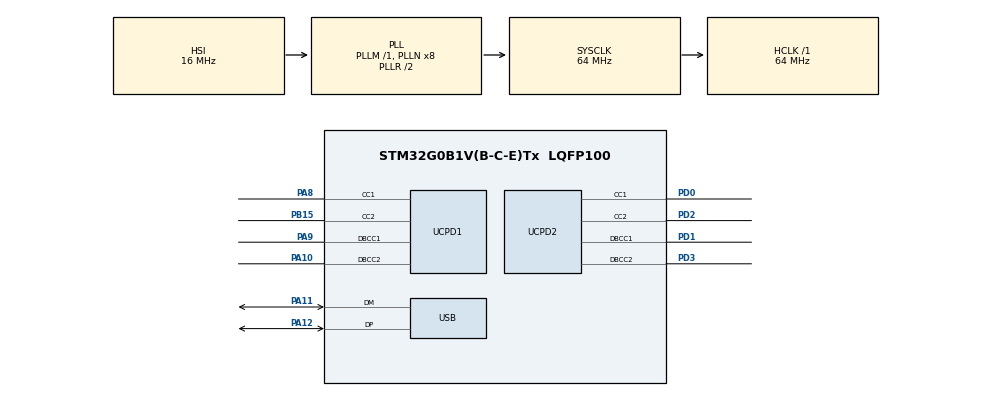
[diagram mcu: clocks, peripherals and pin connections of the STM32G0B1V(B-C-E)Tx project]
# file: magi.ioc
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Dma.Request0=UCPD1_RX
Dma.Request1=UCPD1_TX
Dma.Request2=UCPD2_RX
Dma.Request3=UCPD2_TX
Dma.UCPD1_RX.0.Direction=DMA_PERIPH_TO_MEMORY
Dma.UCPD1_RX.0.EventEnable=DISABLE
Dma.UCPD1_RX.0.Instance=DMA1_Channel1
Dma.UCPD1_RX.0.MemDataAlignment=DMA_MDATAALIGN_BYTE
Dma.UCPD1_RX.0.MemInc=DMA_MINC_ENABLE
Dma.UCPD1_RX.0.Mode=DMA_NORMAL
Dma.UCPD1_RX.0.PeriphDataAlignment=DMA_PDATAALIGN_BYTE
Dma.UCPD1_RX.0.PeriphInc=DMA_PINC_DISABLE
Dma.UCPD1_RX.0.Polarity=HAL_DMAMUX_REQ_GEN_RISING
Dma.UCPD1_RX.0.Priority=DMA_PRIORITY_LOW
Dma.UCPD1_RX.0.RequestNumber=1
Dma.UCPD1_RX.0.SignalID=NONE
Dma.UCPD1_RX.0.SyncEnable=DISABLE
Dma.UCPD1_RX.0.SyncPolarity=HAL_DMAMUX_SYNC_NO_EVENT
Dma.UCPD1_RX.0.SyncRequestNumber=1
Dma.UCPD1_RX.0.SyncSignalID=NONE
Dma.UCPD1_TX.1.Direction=DMA_MEMORY_TO_PERIPH
Dma.UCPD1_TX.1.EventEnable=DISABLE
Dma.UCPD1_TX.1.Instance=DMA1_Channel2
Dma.UCPD1_TX.1.MemDataAlignment=DMA_MDATAALIGN_BYTE
Dma.UCPD1_TX.1.MemInc=DMA_MINC_ENABLE
Dma.UCPD1_TX.1.Mode=DMA_NORMAL
Dma.UCPD1_TX.1.PeriphDataAlignment=DMA_PDATAALIGN_BYTE
Dma.UCPD1_TX.1.PeriphInc=DMA_PINC_DISABLE
Dma.UCPD1_TX.1.Polarity=HAL_DMAMUX_REQ_GEN_RISING
Dma.UCPD1_TX.1.Priority=DMA_PRIORITY_LOW
Dma.UCPD1_TX.1.RequestNumber=1
Dma.UCPD1_TX.1.SignalID=NONE
Dma.UCPD1_TX.1.SyncEnable=DISABLE
Dma.UCPD1_TX.1.SyncPolarity=HAL_DMAMUX_SYNC_NO_EVENT
Dma.UCPD1_TX.1.SyncRequestNumber=1
Dma.UCPD1_TX.1.SyncSignalID=NONE
Dma.UCPD2_RX.2.Direction=DMA_PERIPH_TO_MEMORY
Dma.UCPD2_RX.2.EventEnable=DISABLE
Dma.UCPD2_RX.2.Instance=DMA1_Channel3
Dma.UCPD2_RX.2.MemDataAlignment=DMA_MDATAALIGN_BYTE
Dma.UCPD2_RX.2.MemInc=DMA_MINC_ENABLE
Dma.UCPD2_RX.2.Mode=DMA_NORMAL
Dma.UCPD2_RX.2.PeriphDataAlignment=DMA_PDATAALIGN_BYTE
Dma.UCPD2_RX.2.PeriphInc=DMA_PINC_DISABLE
Dma.UCPD2_RX.2.Polarity=HAL_DMAMUX_REQ_GEN_RISING
Dma.UCPD2_RX.2.Priority=DMA_PRIORITY_LOW
Dma.UCPD2_RX.2.RequestNumber=1
Dma.UCPD2_RX.2.SignalID=NONE
Dma.UCPD2_RX.2.SyncEnable=DISABLE
Dma.UCPD2_RX.2.SyncPolarity=HAL_DMAMUX_SYNC_NO_EVENT
Dma.UCPD2_RX.2.SyncRequestNumber=1
Dma.UCPD2_RX.2.SyncSignalID=NONE
Dma.UCPD2_TX.3.Direction=DMA_MEMORY_TO_PERIPH
Dma.UCPD2_TX.3.EventEnable=DISABLE
Dma.UCPD2_TX.3.Instance=DMA1_Channel4
Dma.UCPD2_TX.3.MemDataAlignment=DMA_MDATAALIGN_BYTE
Dma.UCPD2_TX.3.MemInc=DMA_MINC_ENABLE
Dma.UCPD2_TX.3.Mode=DMA_NORMAL
Dma.UCPD2_TX.3.PeriphDataAlignment=DMA_PDATAALIGN_BYTE
Dma.UCPD2_TX.3.PeriphInc=DMA_PINC_DISABLE
Dma.UCPD2_TX.3.Polarity=HAL_DMAMUX_REQ_GEN_RISING
Dma.UCPD2_TX.3.Priority=DMA_PRIORITY_LOW
Dma.UCPD2_TX.3.RequestNumber=1
Dma.UCPD2_TX.3.SignalID=NONE
Dma.UCPD2_TX.3.SyncEnable=DISABLE
Dma.UCPD2_TX.3.SyncPolarity=HAL_DMAMUX_SYNC_NO_EVENT
Dma.UCPD2_TX.3.SyncRequestNumber=1
Dma.UCPD2_TX.3.SyncSignalID=NONE
FREERTOS.Tasks01=defaultTask,24,128,StartDefaultTask,Default,NULL,Dynamic,NULL,NULL
FREERTOS.configTOTAL_HEAP_SIZE=8192
Mcu.Family=STM32G0
Mcu.Name=STM32G0B1V(B-C-E)Tx
Mcu.Package=LQFP100
NVIC.DMA1_Ch4_7_DMA2_Ch1_5_DMAMUX1_OVR_IRQn=true\:3\:0\:false\:false\:true\:true\:false\:true\:true
NVIC.DMA1_Channel1_IRQn=true\:3\:0\:false\:false\:true\:true\:false\:true\:true
NVIC.DMA1_Channel2_3_IRQn=true\:3\:0\:false\:false\:true\:true\:false\:true\:true
NVIC.TIM17_FDCAN_IT1_IRQn=true\:3\:0\:false\:false\:true\:false\:false\:true\:true
NVIC.TimeBase=TIM17_FDCAN_IT1_IRQn
NVIC.TimeBaseIP=TIM17
NVIC.USB_UCPD1_2_IRQn=true\:3\:0\:false\:false\:true\:true\:true\:true\:true
PA10.Mode=EnableDeadBattery
PA10.Signal=UCPD1_DBCC2
PA11\ [PA9].Mode=Device
PA11\ [PA9].Signal=USB_DM
PA12\ [PA10].Mode=Device
PA12\ [PA10].Signal=USB_DP
PA2.Mode=Clock-out-LSCO
PA2.Signal=RCC_LSCO
PA8.Mode=Dual_Role_AllSignals
PA8.Signal=UCPD1_CC1
PA9.Mode=EnableDeadBattery
PA9.Signal=UCPD1_DBCC1
PB15.Mode=Dual_Role_AllSignals
PB15.Signal=UCPD1_CC2
PC14-OSC32_IN\ (PC14).Mode=LSE-External-Oscillator
PC14-OSC32_IN\ (PC14).Signal=RCC_OSC32_IN
PC15-OSC32_OUT\ (PC15).Mode=LSE-External-Oscillator
PC15-OSC32_OUT\ (PC15).Signal=RCC_OSC32_OUT
PD0.Mode=Dual_Role_AllSignals
PD0.Signal=UCPD2_CC1
PD1.Mode=EnableDeadBattery
PD1.Signal=UCPD2_DBCC1
PD2.Mode=Dual_Role_AllSignals
PD2.Signal=UCPD2_CC2
PD3.Mode=EnableDeadBattery
PD3.Signal=UCPD2_DBCC2
ProjectManager.HeapSize=0x200
ProjectManager.StackSize=0x400
ProjectManager.TargetToolchain=CMake
RCC.ADCFreq_Value=64000000
RCC.AHBFreq_Value=64000000
RCC.CortexFreq_Value=64000000
RCC.EXTERNAL_CLOCK_VALUE=48000
RCC.HCLKFreq_Value=64000000
RCC.HSE_VALUE=8000000
RCC.HSI48_VALUE=48000000
RCC.HSI_VALUE=16000000
RCC.LSCOSource1=RCC_LSCOSOURCE_LSE
RCC.PREFETCH_ENABLE=0
RCC.SYSCLKFreq_VALUE=64000000
RCC.SYSCLKSource=RCC_SYSCLKSOURCE_PLLCLK
RCC.USBFreq_Value=48000000
RCC.VCOOutputFreq_Value=128000000
USBPD.PE_DataSwap_P0=USBPD_TRUE
USBPD.PE_DataSwap_P1=USBPD_TRUE
USBPD.USBPD_PORT0_PDO_SNK_FIXED_SET_OP_CURRENT_0=3000
USBPD.USBPD_PORT0_PDO_SNK_FIXED_SET_OP_CURRENT_1=5000
USBPD.USBPD_PORT0_PDO_SNK_FIXED_SET_VOLTAGE_1=20000
USBPD.USBPD_PORT0_PDO_SNK_NB=2
USBPD.USBPD_PORT0_PDO_SRC_FIXED_SET_MAX_CURRENT_0=3000
USBPD.USBPD_PORT0_PDO_SRC_NB=1
USBPD.USBPD_PORT1_PDO_SNK_FIXED_SET_OP_CURRENT_0=3000
USBPD.USBPD_PORT1_PDO_SNK_FIXED_SET_OP_CURRENT_1=5000
USBPD.USBPD_PORT1_PDO_SNK_FIXED_SET_VOLTAGE_1=20000
USBPD.USBPD_PORT1_PDO_SNK_NB=2
USBPD.USBPD_PORT1_PDO_SRC_FIXED_SET_MAX_CURRENT_0=3000
USBPD.USBPD_PORT1_PDO_SRC_NB=1
USB_DEVICE.CLASS_NAME_FS=CDC
USB_DEVICE.VirtualMode=Cdc
USB_DEVICE.VirtualModeFS=Cdc_FS
VP_FREERTOS_VS_CMSIS_V2.Mode=CMSIS_V2
VP_SYS_VS_DBSignals.Mode=DisableDeadBatterySignals
VP_SYS_VS_tim17.Mode=TIM17
VP_USBPD_VS_PD3FULL.Mode=PD3_Full_Stack
VP_USBPD_VS_USBPD12.Mode=USBPD_P0P1
VP_USBPD_VS_usbpd_tim1.Mode=TIM1
VP_USB_DEVICE_VS_USB_DEVICE_CDC_FS.Mode=CDC_FS
board=custom

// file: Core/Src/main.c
/* USER CODE BEGIN Header */
/**
  ******************************************************************************
  * @file           : main.c
  * @brief          : Main program body
  ******************************************************************************
  * @attention
  *
  * Copyright (c) 2026 STMicroelectronics.
  * All rights reserved.
  *
  * This software is licensed under terms that can be found in the LICENSE file
  * in the root directory of this software component.
  * If no LICENSE file comes with this software, it is provided AS-IS.
  *
  ******************************************************************************
  */
/* USER CODE END Header */
#include "main.h"
#include "cmsis_os.h"
#include "usbpd.h"
#include "usb_device.h"

/* USER CODE BEGIN Includes */
#include "adc.h"
#include "cdc.h"
#include "config.h"
#include "log.h"
#include "network.h"
#include "crypto.h"
#include "console.h"
#include "switch.h"
#include "tcpm.h"
#include "timeout.h"
#include "unit.h"
#include "usb_hub.h"
#include "usbpd_dpm_core.h"
#include "ws2812.h"
/* USER CODE END Includes */

/* Definitions for defaultTask */
osThreadId_t defaultTaskHandle;
const osThreadAttr_t defaultTask_attributes = {
  .name = "defaultTask",
  .priority = (osPriority_t) osPriorityNormal,
  .stack_size = 512 * 4
};

void SystemClock_Config(void);
static void MX_GPIO_Init(void);
static void MX_DMA_Init(void);
static void MX_UCPD1_Init(void);
static void MX_UCPD2_Init(void);
void StartDefaultTask(void *argument);

int main(void)
{

  /* USER CODE BEGIN 1 */
  /* ES0548 2.2.10: cross-bank execution requires flash prefetch disabled. */
  __HAL_FLASH_PREFETCH_BUFFER_DISABLE();
  /* USER CODE END 1 */

  /* MCU Configuration--------------------------------------------------------*/

  /* Reset of all peripherals, Initializes the Flash interface and the Systick. */
  HAL_Init();

  /* Configure the system clock */
  SystemClock_Config();

  /* USER CODE BEGIN SysInit */
  timeout_timer_init();
  /* USER CODE END SysInit */

  /* Initialize all configured peripherals */
  MX_GPIO_Init();
  MX_DMA_Init();
  MX_UCPD1_Init();
  MX_UCPD2_Init();
  /* USER CODE BEGIN 2 */
  log_init();
  config_load();
  console_init();
  adc_init();
  usb_hub_init();
  ws2812_init();
  switch_init();
  /* USER CODE END 2 */

  /* Init scheduler */
  osKernelInitialize();
  /* USBPD initialisation ---------------------------------*/
  MX_USBPD_Init();

  /* Create the thread(s) */
  /* creation of defaultTask */
  defaultTaskHandle = osThreadNew(StartDefaultTask, NULL, &defaultTask_attributes);

  /* USER CODE BEGIN RTOS_THREADS */
  unit_init();
  network_init();
  crypto_init();
  /* USER CODE END RTOS_THREADS */

  /* Start scheduler */
  osKernelStart();

  /* We should never get here as control is now taken by the scheduler */

  /* Infinite loop */
  while (1)
  {

  }
}

void SystemClock_Config(void)
{
  RCC_OscInitTypeDef RCC_OscInitStruct = {0};
  RCC_ClkInitTypeDef RCC_ClkInitStruct = {0};

  /** Configure the main internal regulator output voltage
  */
  HAL_PWREx_ControlVoltageScaling(PWR_REGULATOR_VOLTAGE_SCALE1);

  /** Configure LSE Drive Capability
  */
  HAL_PWR_EnableBkUpAccess();
  __HAL_RCC_LSEDRIVE_CONFIG(RCC_LSEDRIVE_LOW);

  /** Initializes the RCC Oscillators according to the specified parameters
  * in the RCC_OscInitTypeDef structure.
  */
  RCC_OscInitStruct.OscillatorType = RCC_OSCILLATORTYPE_HSI|RCC_OSCILLATORTYPE_LSE
                              |RCC_OSCILLATORTYPE_HSI48;
  RCC_OscInitStruct.LSEState = RCC_LSE_ON;
  RCC_OscInitStruct.HSIState = RCC_HSI_ON;
  RCC_OscInitStruct.HSI48State = RCC_HSI48_ON;
  RCC_OscInitStruct.HSIDiv = RCC_HSI_DIV1;
  RCC_OscInitStruct.HSICalibrationValue = RCC_HSICALIBRATION_DEFAULT;
  RCC_OscInitStruct.PLL.PLLState = RCC_PLL_ON;
  RCC_OscInitStruct.PLL.PLLSource = RCC_PLLSOURCE_HSI;
  RCC_OscInitStruct.PLL.PLLM = RCC_PLLM_DIV1;
  RCC_OscInitStruct.PLL.PLLN = 8;
  RCC_OscInitStruct.PLL.PLLP = RCC_PLLP_DIV2;
  RCC_OscInitStruct.PLL.PLLQ = RCC_PLLQ_DIV2;
  RCC_OscInitStruct.PLL.PLLR = RCC_PLLR_DIV2;
  if (HAL_RCC_OscConfig(&RCC_OscInitStruct) != HAL_OK)
  {
    Error_Handler();
  }

  /** Initializes the CPU, AHB and APB buses clocks
  */
  RCC_ClkInitStruct.ClockType = RCC_CLOCKTYPE_HCLK|RCC_CLOCKTYPE_SYSCLK
                              |RCC_CLOCKTYPE_PCLK1;
  RCC_ClkInitStruct.SYSCLKSource = RCC_SYSCLKSOURCE_PLLCLK;
  RCC_ClkInitStruct.AHBCLKDivider = RCC_SYSCLK_DIV1;
  RCC_ClkInitStruct.APB1CLKDivider = RCC_HCLK_DIV1;

  if (HAL_RCC_ClockConfig(&RCC_ClkInitStruct, FLASH_LATENCY_2) != HAL_OK)
  {
    Error_Handler();
  }
  HAL_RCCEx_EnableLSCO(RCC_LSCOSOURCE_LSE);
}

static void MX_UCPD1_Init(void)
{

  LL_GPIO_InitTypeDef GPIO_InitStruct = {0};

  /* Peripheral clock enable */
  LL_APB1_GRP1_EnableClock(LL_APB1_GRP1_PERIPH_UCPD1);

  LL_IOP_GRP1_EnableClock(LL_IOP_GRP1_PERIPH_GPIOB);
  LL_IOP_GRP1_EnableClock(LL_IOP_GRP1_PERIPH_GPIOA);
  /**UCPD1 GPIO Configuration
  PB15   ------> UCPD1_CC2
  PA8   ------> UCPD1_CC1
  */
  GPIO_InitStruct.Pin = LL_GPIO_PIN_15;
  GPIO_InitStruct.Mode = LL_GPIO_MODE_ANALOG;
  GPIO_InitStruct.Pull = LL_GPIO_PULL_NO;
  LL_GPIO_Init(GPIOB, &GPIO_InitStruct);

  GPIO_InitStruct.Pin = LL_GPIO_PIN_8;
  GPIO_InitStruct.Mode = LL_GPIO_MODE_ANALOG;
  GPIO_InitStruct.Pull = LL_GPIO_PULL_NO;
  LL_GPIO_Init(GPIOA, &GPIO_InitStruct);

  /* UCPD1 DMA Init */

  /* UCPD1_RX Init */
  LL_DMA_SetPeriphRequest(DMA1, LL_DMA_CHANNEL_1, LL_DMAMUX_REQ_UCPD1_RX);

  LL_DMA_SetDataTransferDirection(DMA1, LL_DMA_CHANNEL_1, LL_DMA_DIRECTION_PERIPH_TO_MEMORY);

  LL_DMA_SetChannelPriorityLevel(DMA1, LL_DMA_CHANNEL_1, LL_DMA_PRIORITY_LOW);

  LL_DMA_SetMode(DMA1, LL_DMA_CHANNEL_1, LL_DMA_MODE_NORMAL);

  LL_DMA_SetPeriphIncMode(DMA1, LL_DMA_CHANNEL_1, LL_DMA_PERIPH_NOINCREMENT);

  LL_DMA_SetMemoryIncMode(DMA1, LL_DMA_CHANNEL_1, LL_DMA_MEMORY_INCREMENT);

  LL_DMA_SetPeriphSize(DMA1, LL_DMA_CHANNEL_1, LL_DMA_PDATAALIGN_BYTE);

  LL_DMA_SetMemorySize(DMA1, LL_DMA_CHANNEL_1, LL_DMA_MDATAALIGN_BYTE);

  /* UCPD1_TX Init */
  LL_DMA_SetPeriphRequest(DMA1, LL_DMA_CHANNEL_2, LL_DMAMUX_REQ_UCPD1_TX);

  LL_DMA_SetDataTransferDirection(DMA1, LL_DMA_CHANNEL_2, LL_DMA_DIRECTION_MEMORY_TO_PERIPH);

  LL_DMA_SetChannelPriorityLevel(DMA1, LL_DMA_CHANNEL_2, LL_DMA_PRIORITY_LOW);

  LL_DMA_SetMode(DMA1, LL_DMA_CHANNEL_2, LL_DMA_MODE_NORMAL);

  LL_DMA_SetPeriphIncMode(DMA1, LL_DMA_CHANNEL_2, LL_DMA_PERIPH_NOINCREMENT);

  LL_DMA_SetMemoryIncMode(DMA1, LL_DMA_CHANNEL_2, LL_DMA_MEMORY_INCREMENT);

  LL_DMA_SetPeriphSize(DMA1, LL_DMA_CHANNEL_2, LL_DMA_PDATAALIGN_BYTE);

  LL_DMA_SetMemorySize(DMA1, LL_DMA_CHANNEL_2, LL_DMA_MDATAALIGN_BYTE);

  /* UCPD1 interrupt Init */
  NVIC_SetPriority(USB_UCPD1_2_IRQn, 3);
  NVIC_EnableIRQ(USB_UCPD1_2_IRQn);

}

static void MX_UCPD2_Init(void)
{

  LL_GPIO_InitTypeDef GPIO_InitStruct = {0};

  /* Peripheral clock enable */
  LL_APB1_GRP1_EnableClock(LL_APB1_GRP1_PERIPH_UCPD2);

  LL_IOP_GRP1_EnableClock(LL_IOP_GRP1_PERIPH_GPIOD);
  /**UCPD2 GPIO Configuration
  PD0   ------> UCPD2_CC1
  PD2   ------> UCPD2_CC2
  */
  GPIO_InitStruct.Pin = LL_GPIO_PIN_0;
  GPIO_InitStruct.Mode = LL_GPIO_MODE_ANALOG;
  GPIO_InitStruct.Pull = LL_GPIO_PULL_NO;
  LL_GPIO_Init(GPIOD, &GPIO_InitStruct);

  GPIO_InitStruct.Pin = LL_GPIO_PIN_2;
  GPIO_InitStruct.Mode = LL_GPIO_MODE_ANALOG;
  GPIO_InitStruct.Pull = LL_GPIO_PULL_NO;
  LL_GPIO_Init(GPIOD, &GPIO_InitStruct);

  /* UCPD2 DMA Init */

  /* UCPD2_RX Init */
  LL_DMA_SetPeriphRequest(DMA1, LL_DMA_CHANNEL_3, LL_DMAMUX_REQ_UCPD2_RX);

  LL_DMA_SetDataTransferDirection(DMA1, LL_DMA_CHANNEL_3, LL_DMA_DIRECTION_PERIPH_TO_MEMORY);

  LL_DMA_SetChannelPriorityLevel(DMA1, LL_DMA_CHANNEL_3, LL_DMA_PRIORITY_LOW);

  LL_DMA_SetMode(DMA1, LL_DMA_CHANNEL_3, LL_DMA_MODE_NORMAL);

  LL_DMA_SetPeriphIncMode(DMA1, LL_DMA_CHANNEL_3, LL_DMA_PERIPH_NOINCREMENT);

  LL_DMA_SetMemoryIncMode(DMA1, LL_DMA_CHANNEL_3, LL_DMA_MEMORY_INCREMENT);

  LL_DMA_SetPeriphSize(DMA1, LL_DMA_CHANNEL_3, LL_DMA_PDATAALIGN_BYTE);

  LL_DMA_SetMemorySize(DMA1, LL_DMA_CHANNEL_3, LL_DMA_MDATAALIGN_BYTE);

  /* UCPD2_TX Init */
  LL_DMA_SetPeriphRequest(DMA1, LL_DMA_CHANNEL_4, LL_DMAMUX_REQ_UCPD2_TX);

  LL_DMA_SetDataTransferDirection(DMA1, LL_DMA_CHANNEL_4, LL_DMA_DIRECTION_MEMORY_TO_PERIPH);

  LL_DMA_SetChannelPriorityLevel(DMA1, LL_DMA_CHANNEL_4, LL_DMA_PRIORITY_LOW);

  LL_DMA_SetMode(DMA1, LL_DMA_CHANNEL_4, LL_DMA_MODE_NORMAL);

  LL_DMA_SetPeriphIncMode(DMA1, LL_DMA_CHANNEL_4, LL_DMA_PERIPH_NOINCREMENT);

  LL_DMA_SetMemoryIncMode(DMA1, LL_DMA_CHANNEL_4, LL_DMA_MEMORY_INCREMENT);

  LL_DMA_SetPeriphSize(DMA1, LL_DMA_CHANNEL_4, LL_DMA_PDATAALIGN_BYTE);

  LL_DMA_SetMemorySize(DMA1, LL_DMA_CHANNEL_4, LL_DMA_MDATAALIGN_BYTE);

  /* UCPD2 interrupt Init */
  NVIC_SetPriority(USB_UCPD1_2_IRQn, 3);
  NVIC_EnableIRQ(USB_UCPD1_2_IRQn);

}

static void MX_DMA_Init(void)
{

  /* DMA controller clock enable */
  __HAL_RCC_DMA1_CLK_ENABLE();

  /* DMA interrupt init */
  /* DMA1_Channel1_IRQn interrupt configuration */
  NVIC_SetPriority(DMA1_Channel1_IRQn, 3);
  NVIC_EnableIRQ(DMA1_Channel1_IRQn);
  /* DMA1_Channel2_3_IRQn interrupt configuration */
  NVIC_SetPriority(DMA1_Channel2_3_IRQn, 3);
  NVIC_EnableIRQ(DMA1_Channel2_3_IRQn);
  /* DMA1_Ch4_7_DMA2_Ch1_5_DMAMUX1_OVR_IRQn interrupt configuration */
  HAL_NVIC_SetPriority(DMA1_Ch4_7_DMA2_Ch1_5_DMAMUX1_OVR_IRQn, 3, 0);
  HAL_NVIC_EnableIRQ(DMA1_Ch4_7_DMA2_Ch1_5_DMAMUX1_OVR_IRQn);

}

static void MX_GPIO_Init(void)
{
  GPIO_InitTypeDef GPIO_InitStruct = {0};

  /* GPIO Ports Clock Enable */
  __HAL_RCC_GPIOC_CLK_ENABLE();
  __HAL_RCC_GPIOA_CLK_ENABLE();
  __HAL_RCC_GPIOB_CLK_ENABLE();
  __HAL_RCC_GPIOD_CLK_ENABLE();

  /*Configure GPIO pin : PA2 */
  GPIO_InitStruct.Pin = GPIO_PIN_2;
  GPIO_InitStruct.Mode = GPIO_MODE_ANALOG;
  GPIO_InitStruct.Pull = GPIO_NOPULL;
  HAL_GPIO_Init(GPIOA, &GPIO_InitStruct);

}

void StartDefaultTask(void *argument)
{
  /* init code for USB_Device */
  MX_USB_Device_Init();
  /* USER CODE BEGIN 5 */
  cdc_init();
  tcpm_sgmii_status_t last_sgmii_status = {0};

  /* Infinite loop */
  for(;;)
  {
    switch_port_status_t sgmii_status = {0};
    uint8_t r = 12, g = 0, b = 0;

    tcpm_sgmii_status_t sgmii = tcpm_get_sgmii_status(tcpm, TCPM_PORT_1);
    if (sgmii.cycles != last_sgmii_status.cycles
        || (!sgmii.active && last_sgmii_status.active))
    {
      if (0 == switch_disable_sgmii())
      {
        last_sgmii_status.cycles = sgmii.cycles;
        last_sgmii_status.active = false;
      }
    }
    else if (sgmii.active && !last_sgmii_status.active)
    {
      if (0 == switch_enable_sgmii(SWITCH_PROTOCOL_HSGMII,
                                   SWITCH_SPEED_2500M,
                                   SWITCH_DUPLEX_FULL))
      {
        last_sgmii_status.active = true;
      }
    }

    if (last_sgmii_status.active
        && (0 == switch_get_port_status(SWITCH_EXT_PORT0, &sgmii_status))
        && sgmii_status.link)
    {
      b = 8;
    }
    if (adc_get_usb_voltage(USB0) > 19000 || adc_get_usb_voltage(USB1) > 19000) {
      g = 8;
    }
    ws2812_set_rgb(0, r,g,b);
    timeout_sleep_ms(100);
  }
  /* USER CODE END 5 */
}

void HAL_TIM_PeriodElapsedCallback(TIM_HandleTypeDef *htim)
{
  if (htim->Instance == TIM17)
  {
    HAL_IncTick();
  }
  /* USER CODE BEGIN Callback 1 */
  if (htim->Instance == TIM17)
  {
    USBPD_DPM_TimerCounter();
  }
  /* USER CODE END Callback 1 */
}

void Error_Handler(void)
{
  __disable_irq();
  while (1)
  {
  }
}
